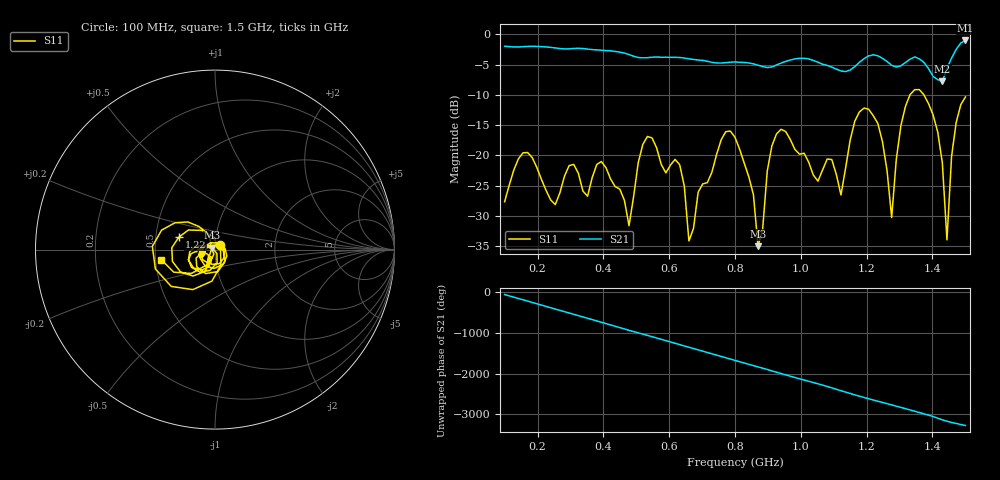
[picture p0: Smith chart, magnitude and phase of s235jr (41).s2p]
! NanoVNA-App
! Date: 2025-09-26 09:45:06
! Start: 100MHz Stop: 1,5GHz Points: 101
! S-Parameter data: F S11 S21 S12 S22
# Hz S RI R 50
!  Frequency  S11_Real  S11_Imag  S21_Real  S21_Imag  S12_Real  S12_Imag  S22_Real  S22_Imag
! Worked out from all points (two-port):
!   101 points, 100 MHz to 1.5 GHz, reference 50 ohm
!   highest |S21| = -1.01 dB at 1.5 GHz (marker M1); lowest = -7.7 dB at 1.43 GHz (marker M2)
!   |S21| within 3 dB of the highest: start of sweep to 656.6 MHz; 1.192 GHz to 1.249 GHz (57.1 MHz wide, 4.68 % of centre)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
!   lowest |S11| = -35.0 dB at 870 MHz (marker M3), VSWR 1.04, Z = 48.5 + j0.985 ohm
!   |S11| at or under -10 dB: start of sweep to 1.332 GHz; 1.374 GHz to end of sweep
!   S12 and S22 are empty: the file has one direction only
!   S11 on the Smith chart (normalised r, x): 100 MHz: 1.06, +0.06; 1.22 GHz: 0.66, +0.10; 1.5 GHz: 0.54, -0.07
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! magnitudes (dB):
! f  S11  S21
! 100 MHz  -27.7  -2.0
! 156 MHz  -19.6  -2.0
! 338 MHz  -25.9  -2.3
! 394 MHz  -21.0  -2.6
! 478 MHz  -31.6  -3.3
! 520 MHz  -18.2  -3.9
! 576 MHz  -21.5  -3.8
! 632 MHz  -21.5  -3.8
! 660 MHz  -34.1  -4.0
! 800 MHz  -17.0  -4.6
! 870 MHz  -35.0  -5.1
! 926 MHz  -16.4  -5.1
! 1.038 GHz  -23.2  -4.3
! 1.122 GHz  -26.5  -6.0
! 1.164 GHz  -14.3  -5.3
! 1.22 GHz  -13.4  -3.4
! 1.276 GHz  -30.3  -5.1
! 1.332 GHz  -9.9  -4.1
! 1.43 GHz  -21.3  -7.7
! 1.444 GHz  -33.9  -5.6
! 1.458 GHz  -20.2  -3.9
! 1.5 GHz  -10.3  -1.0
